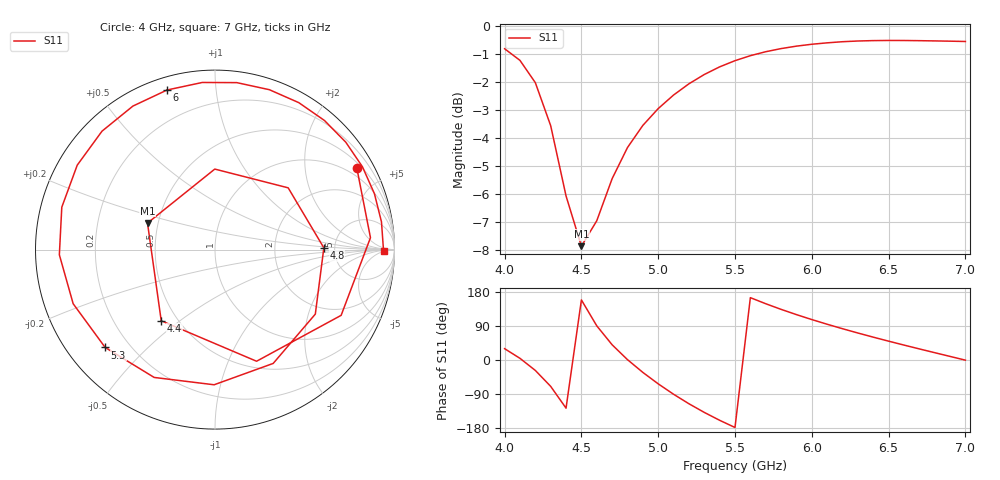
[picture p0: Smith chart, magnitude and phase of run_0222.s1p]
! Touchstone file exported from HFSS 2024.2.0
!  File:  C:/Users/wsak9/Desktop/Sim Fast/Widenad Patch/WP_AI_V1_sweep.aedt
!  Generated:  12:16:03 AM Oct 14, 2026
!  Design:  A1_model
!  Project:  WP_AI_V1_sweep
!  Setup:  Setup1
!  Solution:  Sweep
! Variables:
!  Air_gap = 2.57mm
!  Curve_Amp1 = 1.03
!  Curve_len1 = 1
!  Curve_pos = 12.27mm
!  Extra = 3.55mm
!  H_sub = 0.79mm
!  L_Patch = 20.54mm
!  L_Patch1 = 13.46mm
!  Sx = 1.72mm
!  Sy = 4.99mm
!  WS = 0.62mm
!  W_Patch = 22.65mm
!  W_Patch1 = 9.91mm
!Data is not renormalized
# GHz S MA
! Terminal data exported
! Port[1] = 1
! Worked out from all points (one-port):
!   31 points, 4 GHz to 7 GHz, reference per port
!   lowest |S11| = -7.9 dB at 4.5 GHz (marker M1), VSWR 2.36
!   |S11| at or under -10 dB: nowhere
!   S11 on the Smith chart (normalised r, x): 4 GHz: 0.68, +3.63; 4.4 GHz: 0.41, -0.43; 4.8 GHz: 4.08, +0.13; 5.3 GHz: 0.11, -0.38; 6 GHz: 0.06, +0.74; 7 GHz: 31, -3
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4  0.9114 29.9
4.1  0.8687 4.4
4.2  0.7925 -27.5
4.3  0.6637 -69.6
4.4  0.4969 -127.1
4.5  0.404 158.5
4.6  0.4486 90.2
4.7  0.5335 40.2
4.8  0.6066 0.9
4.9  0.6645 -32.7
5  0.7122 -62.9
5.1  0.7531 -90.4
5.2  0.7888 -115.4
5.3  0.8196 -138.3
5.4  0.8458 -159.1
5.5  0.8677 -178.1
5.6  0.8857 164.5
5.7  0.9003 148.5
5.8  0.912 133.6
5.9  0.9212 119.8
6  0.9284 106.7
6.1  0.9338 94.4
6.2  0.9382 82.6
6.3  0.9409 71.2
6.5  0.943 49.7
6.7  0.9422 29.3
6.9  0.9403 9.5
7  0.9391 -0.4
